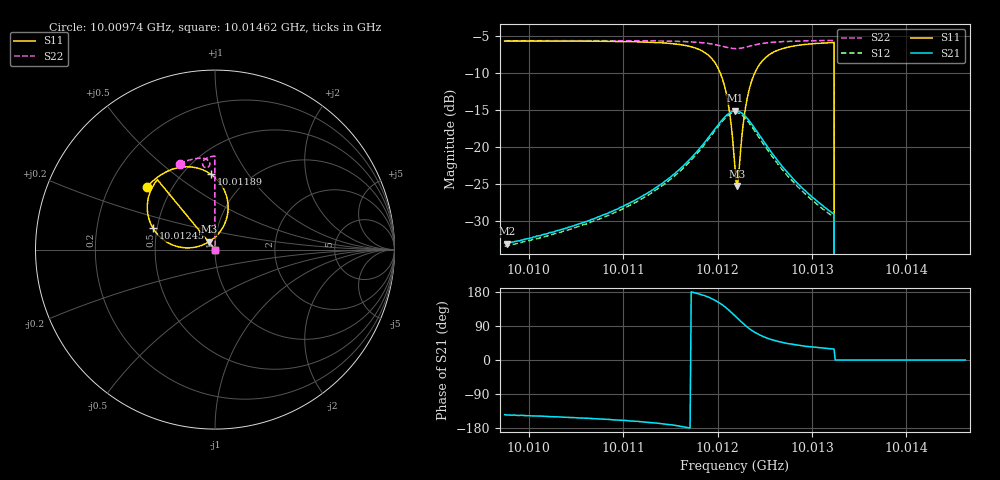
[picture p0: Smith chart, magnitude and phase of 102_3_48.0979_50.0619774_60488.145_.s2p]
#  HZ  S  RI  R  50.00
! Rohde & Schwarz Vector Network Analyzer
! Rohde-Schwarz,ZNB20-2Port,1311601062101988,3.16
! Created: UTC 12/23/2023, 3:44:51 AM
! freq[Hz]  re:S11  im:S11  re:S21  im:S21  re:S12  im:S12  re:S22  im:S22
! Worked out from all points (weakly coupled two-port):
!   401 points, 10.00974 GHz to 10.01462 GHz, reference 50 ohm
!   highest |S21| = -15.14 dB at 10.01218 GHz (marker M1); lowest = -33.0 dB at 10.00977 GHz (marker M2)
!   lowest |S11| = -25.2 dB at 10.01221 GHz (marker M3), VSWR 1.12, Z = 46.6 + j4.07 ohm
!   |S11| at or under -10 dB: 10.01203 GHz to 10.0124 GHz (368.7 kHz wide, 0.00368 % of centre); 10.01323 GHz to end of sweep
!   |S22| runs from - to -5.7 dB; largest |S21 - S12| = 0.0083
!   S11 on the Smith chart (normalised r, x): 10.00974 GHz: 0.36, +0.35; 10.01189 GHz: 0.67, +0.69; 10.01245 GHz: 0.48, +0.13; 10.01462 GHz: 1.00, +0.00
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1.0009744e10  -0.3788 0.3495  -0.0183 -0.0131  -0.0169 -0.0133  -0.1971 0.4795
1.0009769e10  -0.3776 0.3512  -0.0183 -0.0128  -0.017 -0.0134  -0.1955 0.4801
1.0010562e10  -0.3236 0.4009  -0.0275 -0.0139  -0.0258 -0.0147  -0.1453 0.4982
1.0011379e10  -0.2194 0.4534  -0.0536 -0.0122  -0.051 -0.0144  -0.0863 0.5094
1.001166e10  -0.1402 0.461  -0.077 -0.00365  -0.0741 -0.00754  -0.0614 0.508
1.0011891e10  -0.0222 0.4193  -0.1104 0.0253  -0.1083 0.0192  -0.0382 0.497
1.0012001e10  0.0472 0.3398  -0.1249 0.0627  -0.1249 0.0549  -0.0298 0.4834
1.0012074e10  0.0729 0.2449  -0.1235 0.0997  -0.125 0.0921  -0.0297 0.4706
1.0012135e10  0.0547 0.1455  -0.1051 0.1347  -0.1079 0.1274  -0.036 0.461
1.0012184e10  0.00354 0.0719  -0.0779 0.1568  -0.0819 0.1497  -0.0451 0.4566
1.0012209e10  -0.0332 0.0435  -0.0613 0.1636  -0.0656 0.1568  -0.05 0.4564
1.0012233e10  -0.0749 0.0232  -0.0442 0.1665  -0.0482 0.1605  -0.0553 0.4574
1.0012282e10  -0.1606 0.00967  -0.0108 0.1633  -0.0148 0.1578  -0.0634 0.4628
1.0012318e10  -0.219 0.0197  0.0107 0.1542  0.00509 0.149  -0.0671 0.4686
1.0012379e10  -0.2936 0.0595  0.035 0.1328  0.0292 0.1287  -0.0692 0.4791
1.0012452e10  -0.3452 0.119  0.0489 0.1067  0.0432 0.1036  -0.0665 0.4903
1.0012648e10  -0.3774 0.2457  0.0523 0.0593  0.0474 0.0585  -0.0502 0.5076
1.0013001e10  -0.3457 0.3538  0.0379 0.026  0.035 0.0266  -0.0193 0.5183
1.0013209e10  -0.3234 0.3864  0.0314 0.0177  0.029 0.0185  -0.003 0.5207
1.001327e10  0 0  0 0  0 0  0 0
1.0013819e10  0 0  0 0  0 0  0 0
1.0014624e10  0 0  0 0  0 0  0 0
